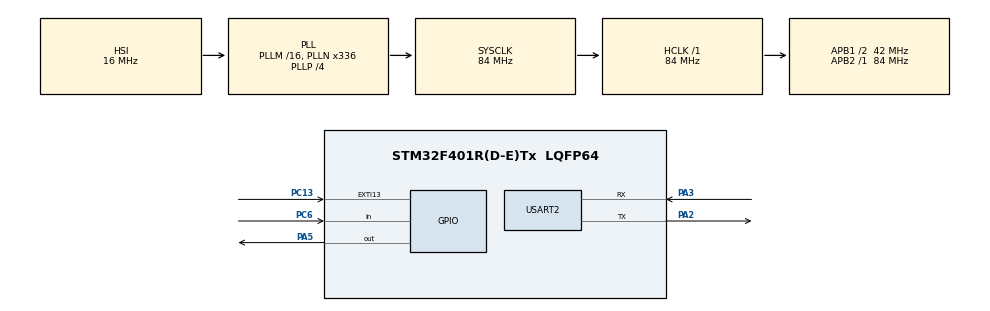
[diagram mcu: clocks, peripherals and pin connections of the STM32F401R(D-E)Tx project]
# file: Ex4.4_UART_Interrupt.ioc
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Dma.Request0=USART2_RX
Dma.Request1=USART2_TX
Dma.USART2_RX.0.Direction=DMA_PERIPH_TO_MEMORY
Dma.USART2_RX.0.FIFOMode=DMA_FIFOMODE_DISABLE
Dma.USART2_RX.0.Instance=DMA1_Stream5
Dma.USART2_RX.0.MemDataAlignment=DMA_MDATAALIGN_BYTE
Dma.USART2_RX.0.MemInc=DMA_MINC_ENABLE
Dma.USART2_RX.0.Mode=DMA_CIRCULAR
Dma.USART2_RX.0.PeriphDataAlignment=DMA_PDATAALIGN_BYTE
Dma.USART2_RX.0.PeriphInc=DMA_PINC_DISABLE
Dma.USART2_RX.0.Priority=DMA_PRIORITY_LOW
Dma.USART2_TX.1.Direction=DMA_MEMORY_TO_PERIPH
Dma.USART2_TX.1.FIFOMode=DMA_FIFOMODE_DISABLE
Dma.USART2_TX.1.Instance=DMA1_Stream6
Dma.USART2_TX.1.MemDataAlignment=DMA_MDATAALIGN_BYTE
Dma.USART2_TX.1.MemInc=DMA_MINC_ENABLE
Dma.USART2_TX.1.Mode=DMA_CIRCULAR
Dma.USART2_TX.1.PeriphDataAlignment=DMA_PDATAALIGN_BYTE
Dma.USART2_TX.1.PeriphInc=DMA_PINC_DISABLE
Dma.USART2_TX.1.Priority=DMA_PRIORITY_LOW
Mcu.Family=STM32F4
Mcu.Name=STM32F401R(D-E)Tx
Mcu.Package=LQFP64
NVIC.DMA1_Stream5_IRQn=true\:0\:0\:false\:false\:true\:false\:true\:true
NVIC.DMA1_Stream6_IRQn=true\:0\:0\:false\:false\:true\:false\:true\:true
NVIC.PriorityGroup=NVIC_PRIORITYGROUP_4
NVIC.USART2_IRQn=true\:0\:0\:false\:false\:true\:true\:true\:true
PA13.Signal=SYS_JTMS-SWDIO
PA14.Signal=SYS_JTCK-SWCLK
PA2.Mode=Asynchronous
PA2.Signal=USART2_TX
PA3.Mode=Asynchronous
PA3.Signal=USART2_RX
PA5.Signal=GPIO_Output
PC13-ANTI_TAMP.Signal=GPXTI13
PC6.Signal=GPIO_Input
PH0\ -\ OSC_IN.Mode=HSE-External-Oscillator
PH0\ -\ OSC_IN.Signal=RCC_OSC_IN
PH1\ -\ OSC_OUT.Mode=HSE-External-Oscillator
PH1\ -\ OSC_OUT.Signal=RCC_OSC_OUT
ProjectManager.HeapSize=0x200
ProjectManager.StackSize=0x400
ProjectManager.TargetToolchain=STM32CubeIDE
RCC.48MHZClocksFreq_Value=48000000
RCC.AHBFreq_Value=84000000
RCC.APB1CLKDivider=RCC_HCLK_DIV2
RCC.APB1Freq_Value=42000000
RCC.APB1TimFreq_Value=84000000
RCC.APB2Freq_Value=84000000
RCC.APB2TimFreq_Value=84000000
RCC.CortexFreq_Value=84000000
RCC.HCLKFreq_Value=84000000
RCC.HSE_VALUE=8000000
RCC.HSI_VALUE=16000000
RCC.LSE_VALUE=32768
RCC.PLLN=336
RCC.PLLP=RCC_PLLP_DIV4
RCC.PLLQ=7
RCC.SYSCLKFreq_VALUE=84000000
RCC.SYSCLKSource=RCC_SYSCLKSOURCE_PLLCLK
RCC.VCOOutputFreq_Value=336000000
USART2.VirtualMode=VM_ASYNC
board=NUCLEO-F401RE

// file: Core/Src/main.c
/* USER CODE BEGIN Header */
/**
  ******************************************************************************
  * @file           : main.c
  * @brief          : Main program body
  ******************************************************************************
  * @attention
  *
  * Copyright (c) 2026 STMicroelectronics.
  * All rights reserved.
  *
  * This software is licensed under terms that can be found in the LICENSE file
  * in the root directory of this software component.
  * If no LICENSE file comes with this software, it is provided AS-IS.
  *
  ******************************************************************************
  */
/* USER CODE END Header */
#include "main.h"

UART_HandleTypeDef huart2;
DMA_HandleTypeDef hdma_usart2_rx;
DMA_HandleTypeDef hdma_usart2_tx;

void SystemClock_Config(void);
static void MX_GPIO_Init(void);
static void MX_DMA_Init(void);
static void MX_USART2_UART_Init(void);

/* USER CODE BEGIN 0 */
uint8_t rx_data[4];
void HAL_UART_RxCpltCallback(UART_HandleTypeDef *huart)
{
	if(huart->Instance==USART2){
		if(rx_data[0]=='2' && rx_data[3]=='3' && rx_data[1]=='1'){
			if(rx_data[2]=='1') HAL_GPIO_WritePin(GPIOA, GPIO_PIN_5, 1);
			else if(rx_data[2]=='0')HAL_GPIO_WritePin(GPIOA, GPIO_PIN_5, 0);
			}
		else if(rx_data[0]=='2' && rx_data[3]=='3' &&rx_data[1]=='2'){
			if(rx_data[2]=='1') HAL_GPIO_WritePin(GPIOA, GPIO_PIN_5, 0);
			else if(rx_data[2]=='0')HAL_GPIO_WritePin(GPIOA, GPIO_PIN_5, 0);
			}
		else if(rx_data[0]=='2' && rx_data[3]=='3' && rx_data[1]=='0'){
			HAL_GPIO_WritePin(GPIOA, GPIO_PIN_5, 0);
			HAL_GPIO_WritePin(GPIOA, GPIO_PIN_5, 0);
			}
	HAL_UART_Transmit_IT(&huart2, rx_data, 4);
	HAL_UART_Receive_IT(&huart2, rx_data, 4);
	}
}
/* USER CODE END 0 */

int main(void)
{

  /* MCU Configuration--------------------------------------------------------*/

  /* Reset of all peripherals, Initializes the Flash interface and the Systick. */
  HAL_Init();

  /* Configure the system clock */
  SystemClock_Config();

  /* Initialize all configured peripherals */
  MX_GPIO_Init();
  MX_DMA_Init();
  MX_USART2_UART_Init();
  /* USER CODE BEGIN 2 */
  HAL_UART_Receive_IT(&huart2, rx_data, 4);
  /* USER CODE END 2 */

  /* Infinite loop */
  while (1)
  {

  }
}

void SystemClock_Config(void)
{
  RCC_OscInitTypeDef RCC_OscInitStruct = {0};
  RCC_ClkInitTypeDef RCC_ClkInitStruct = {0};

  /** Configure the main internal regulator output voltage
  */
  __HAL_RCC_PWR_CLK_ENABLE();
  __HAL_PWR_VOLTAGESCALING_CONFIG(PWR_REGULATOR_VOLTAGE_SCALE2);

  /** Initializes the RCC Oscillators according to the specified parameters
  * in the RCC_OscInitTypeDef structure.
  */
  RCC_OscInitStruct.OscillatorType = RCC_OSCILLATORTYPE_HSI;
  RCC_OscInitStruct.HSIState = RCC_HSI_ON;
  RCC_OscInitStruct.HSICalibrationValue = RCC_HSICALIBRATION_DEFAULT;
  RCC_OscInitStruct.PLL.PLLState = RCC_PLL_ON;
  RCC_OscInitStruct.PLL.PLLSource = RCC_PLLSOURCE_HSI;
  RCC_OscInitStruct.PLL.PLLM = 16;
  RCC_OscInitStruct.PLL.PLLN = 336;
  RCC_OscInitStruct.PLL.PLLP = RCC_PLLP_DIV4;
  RCC_OscInitStruct.PLL.PLLQ = 7;
  if (HAL_RCC_OscConfig(&RCC_OscInitStruct) != HAL_OK)
  {
    Error_Handler();
  }

  /** Initializes the CPU, AHB and APB buses clocks
  */
  RCC_ClkInitStruct.ClockType = RCC_CLOCKTYPE_HCLK|RCC_CLOCKTYPE_SYSCLK
                              |RCC_CLOCKTYPE_PCLK1|RCC_CLOCKTYPE_PCLK2;
  RCC_ClkInitStruct.SYSCLKSource = RCC_SYSCLKSOURCE_PLLCLK;
  RCC_ClkInitStruct.AHBCLKDivider = RCC_SYSCLK_DIV1;
  RCC_ClkInitStruct.APB1CLKDivider = RCC_HCLK_DIV2;
  RCC_ClkInitStruct.APB2CLKDivider = RCC_HCLK_DIV1;

  if (HAL_RCC_ClockConfig(&RCC_ClkInitStruct, FLASH_LATENCY_2) != HAL_OK)
  {
    Error_Handler();
  }
}

static void MX_USART2_UART_Init(void)
{

  huart2.Instance = USART2;
  huart2.Init.BaudRate = 115200;
  huart2.Init.WordLength = UART_WORDLENGTH_8B;
  huart2.Init.StopBits = UART_STOPBITS_1;
  huart2.Init.Parity = UART_PARITY_NONE;
  huart2.Init.Mode = UART_MODE_TX_RX;
  huart2.Init.HwFlowCtl = UART_HWCONTROL_NONE;
  huart2.Init.OverSampling = UART_OVERSAMPLING_16;
  if (HAL_UART_Init(&huart2) != HAL_OK)
  {
    Error_Handler();
  }

}

static void MX_DMA_Init(void)
{

  /* DMA controller clock enable */
  __HAL_RCC_DMA1_CLK_ENABLE();

  /* DMA interrupt init */
  /* DMA1_Stream5_IRQn interrupt configuration */
  HAL_NVIC_SetPriority(DMA1_Stream5_IRQn, 0, 0);
  HAL_NVIC_EnableIRQ(DMA1_Stream5_IRQn);
  /* DMA1_Stream6_IRQn interrupt configuration */
  HAL_NVIC_SetPriority(DMA1_Stream6_IRQn, 0, 0);
  HAL_NVIC_EnableIRQ(DMA1_Stream6_IRQn);

}

static void MX_GPIO_Init(void)
{
  GPIO_InitTypeDef GPIO_InitStruct = {0};

  /* GPIO Ports Clock Enable */
  __HAL_RCC_GPIOC_CLK_ENABLE();
  __HAL_RCC_GPIOH_CLK_ENABLE();
  __HAL_RCC_GPIOA_CLK_ENABLE();

  /*Configure GPIO pin Output Level */
  HAL_GPIO_WritePin(GPIOA, GPIO_PIN_5, GPIO_PIN_RESET);

  /*Configure GPIO pin : PC13 */
  GPIO_InitStruct.Pin = GPIO_PIN_13;
  GPIO_InitStruct.Mode = GPIO_MODE_IT_RISING;
  GPIO_InitStruct.Pull = GPIO_NOPULL;
  HAL_GPIO_Init(GPIOC, &GPIO_InitStruct);

  /*Configure GPIO pin : PA5 */
  GPIO_InitStruct.Pin = GPIO_PIN_5;
  GPIO_InitStruct.Mode = GPIO_MODE_OUTPUT_PP;
  GPIO_InitStruct.Pull = GPIO_NOPULL;
  GPIO_InitStruct.Speed = GPIO_SPEED_FREQ_LOW;
  HAL_GPIO_Init(GPIOA, &GPIO_InitStruct);

  /*Configure GPIO pin : PC6 */
  GPIO_InitStruct.Pin = GPIO_PIN_6;
  GPIO_InitStruct.Mode = GPIO_MODE_INPUT;
  GPIO_InitStruct.Pull = GPIO_NOPULL;
  HAL_GPIO_Init(GPIOC, &GPIO_InitStruct);

}

void Error_Handler(void)
{
  __disable_irq();
  while (1)
  {
  }
}
